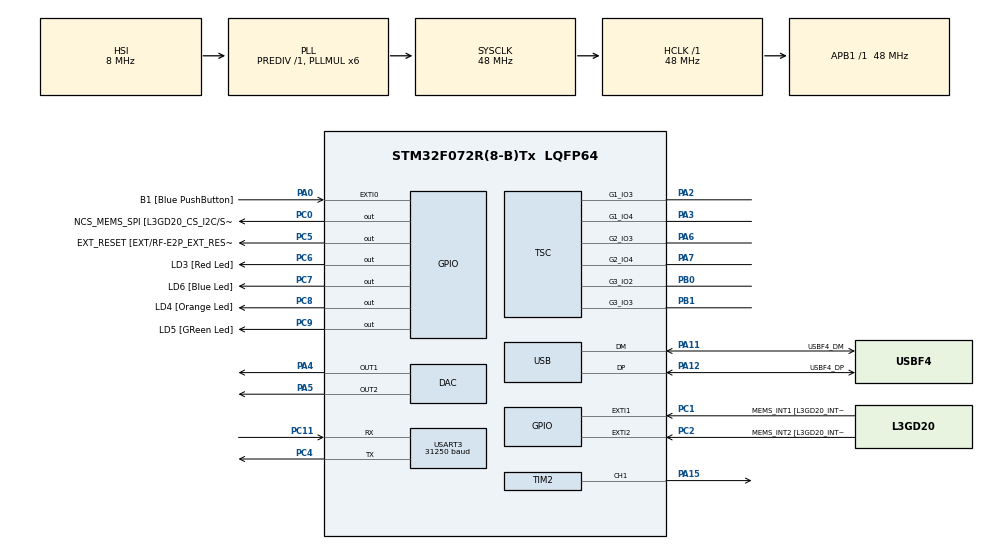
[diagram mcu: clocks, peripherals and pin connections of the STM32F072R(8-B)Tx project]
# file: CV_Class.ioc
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Mcu.Family=STM32F0
Mcu.Name=STM32F072R(8-B)Tx
Mcu.Package=LQFP64
NVIC.TIM2_IRQn=true\:0\:0\:false\:false\:true\:true\:true
PA0.GPIO_Label=B1 [Blue PushButton]
PA0.GPIO_ModeDefaultEXTI=GPIO_MODE_EVT_RISING
PA0.Signal=GPXTI0
PA11.GPIO_Label=USBF4_DM
PA11.Mode=Device
PA11.Signal=USB_DM
PA12.GPIO_Label=USBF4_DP
PA12.Mode=Device
PA12.Signal=USB_DP
PA13.GPIO_Label=SWDIO
PA13.Mode=Serial_Wire
PA13.Signal=SYS_SWDIO
PA14.GPIO_Label=SWCLK
PA14.Mode=Serial_Wire
PA14.Signal=SYS_SWCLK
PA15.Signal=S_TIM2_CH1_ETR
PA2.Mode=G1_IO3-Channel
PA2.Signal=TSC_G1_IO3
PA3.Mode=G1_IO4-Sampling
PA3.Signal=TSC_G1_IO4
PA4.Signal=COMP_DAC1_group
PA5.Signal=COMP_DAC2_group
PA6.Mode=G2_IO3-Channel
PA6.Signal=TSC_G2_IO3
PA7.Mode=G2_IO4-Sampling
PA7.Signal=TSC_G2_IO4
PB0.Mode=G3_IO2-Channel
PB0.Signal=TSC_G3_IO2
PB1.Mode=G3_IO3-Sampling
PB1.Signal=TSC_G3_IO3
PC0.GPIO_Label=NCS_MEMS_SPI [L3GD20_CS_I2C/SPI]
PC0.Signal=GPIO_Output
PC1.GPIO_Label=MEMS_INT1 [L3GD20_INT1]
PC1.GPIO_ModeDefaultEXTI=GPIO_MODE_EVT_RISING
PC1.Signal=GPXTI1
PC11.Mode=Asynchronous
PC11.Signal=USART3_RX
PC2.GPIO_Label=MEMS_INT2 [L3GD20_INT2]
PC2.GPIO_ModeDefaultEXTI=GPIO_MODE_EVT_RISING
PC2.Signal=GPXTI2
PC4.Mode=Asynchronous
PC4.Signal=USART3_TX
PC5.GPIO_Label=EXT_RESET [EXT/RF-E2P_EXT_RESET]
PC5.Signal=GPIO_Output
PC6.GPIO_Label=LD3 [Red Led]
PC6.Signal=GPIO_Output
PC7.GPIO_Label=LD6 [Blue Led]
PC7.Signal=GPIO_Output
PC8.GPIO_Label=LD4 [Orange Led]
PC8.Signal=GPIO_Output
PC9.GPIO_Label=LD5 [GReen Led]
PC9.Signal=GPIO_Output
ProjectManager.HeapSize=0x200
ProjectManager.StackSize=0x400
ProjectManager.TargetToolchain=STM32CubeIDE
RCC.AHBFreq_Value=48000000
RCC.APB1Freq_Value=48000000
RCC.APB1TimFreq_Value=48000000
RCC.HCLKFreq_Value=48000000
RCC.PLLMUL=RCC_PLL_MUL6
RCC.SYSCLKFreq_VALUE=48000000
RCC.SYSCLKSource=RCC_SYSCLKSOURCE_PLLCLK
SH.COMP_DAC1_group.0=DAC_OUT1,DAC_OUT1
SH.COMP_DAC2_group.0=DAC_OUT2,DAC_OUT2
SH.S_TIM2_CH1_ETR.0=TIM2_CH1,Output Compare1 CH1
TIM2.Channel-Output\ Compare1\ CH1=TIM_CHANNEL_1
TIM2.Prescaler=65535
TIM2.TIM_MasterOutputTrigger=TIM_TRGO_OC1REF
USART3.BaudRate=31250
USART3.Mode=MODE_RX
USART3.VirtualMode-Asynchronous=VM_ASYNC
USB.phy_itface=PCD_PHY_EMBEDDED
USB.speed=PCD_SPEED_FULL
VP_TIM2_VS_ClockSourceINT.Mode=Internal
board=STM32F072B-DISCO

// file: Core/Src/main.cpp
/* USER CODE BEGIN Header */
/**
 ******************************************************************************
 * @file           : main.c
 * @brief          : Main program body
 ******************************************************************************
 * @attention
 *
 * <h2><center>&copy; Copyright (c) 2020 STMicroelectronics.
 * All rights reserved.</center></h2>
 *
 * This software component is licensed by ST under BSD 3-Clause license,
 * the "License"; You may not use this file except in compliance with the
 * License. You may obtain a copy of the License at:
 *                        opensource.org/licenses/BSD-3-Clause
 *
 ******************************************************************************
 */
/* USER CODE END Header */

#include "main.h"

/* USER CODE BEGIN Includes */
#include "CV.h"
/* USER CODE END Includes */

DAC_HandleTypeDef hdac;

TIM_HandleTypeDef htim2;

TSC_HandleTypeDef htsc;

UART_HandleTypeDef huart3;

PCD_HandleTypeDef hpcd_USB_FS;

void SystemClock_Config(void);
static void MX_GPIO_Init(void);
static void MX_TSC_Init(void);
static void MX_USB_PCD_Init(void);
static void MX_DAC_Init(void);
static void MX_TIM2_Init(void);
static void MX_USART3_UART_Init(void);

/* USER CODE BEGIN 0 */
CV pitch;

/* USER CODE END 0 */

int main(void) {

	/* MCU Configuration--------------------------------------------------------*/

	/* Reset of all peripherals, Initializes the Flash interface and the Systick. */
	HAL_Init();

	/* Configure the system clock */
	SystemClock_Config();

	/* Initialize all configured peripherals */
	MX_GPIO_Init();
	MX_TSC_Init();
	MX_USB_PCD_Init();
	MX_DAC_Init();
	MX_TIM2_Init();
	MX_USART3_UART_Init();
	/* USER CODE BEGIN 2 */
	HAL_DAC_Start(&hdac, DAC_CHANNEL_1);
	HAL_TIM_Base_Start_IT(&htim2);
	pitch.CV_init(10, 100, output_CV); // initialise the CV interface
	static uint16_t i = 0;
	static uint8_t note = 0;
	/* USER CODE END 2 */

	/* Infinite loop */
	while (1) {

	}
}

void SystemClock_Config(void) {
	RCC_OscInitTypeDef RCC_OscInitStruct = { 0 };
	RCC_ClkInitTypeDef RCC_ClkInitStruct = { 0 };
	RCC_PeriphCLKInitTypeDef PeriphClkInit = { 0 };

	/** Initializes the CPU, AHB and APB busses clocks
	 */
	RCC_OscInitStruct.OscillatorType = RCC_OSCILLATORTYPE_HSI
			| RCC_OSCILLATORTYPE_HSI48;
	RCC_OscInitStruct.HSIState = RCC_HSI_ON;
	RCC_OscInitStruct.HSI48State = RCC_HSI48_ON;
	RCC_OscInitStruct.HSICalibrationValue = RCC_HSICALIBRATION_DEFAULT;
	RCC_OscInitStruct.PLL.PLLState = RCC_PLL_ON;
	RCC_OscInitStruct.PLL.PLLSource = RCC_PLLSOURCE_HSI;
	RCC_OscInitStruct.PLL.PLLMUL = RCC_PLL_MUL6;
	RCC_OscInitStruct.PLL.PREDIV = RCC_PREDIV_DIV1;
	if (HAL_RCC_OscConfig(&RCC_OscInitStruct) != HAL_OK) {
		Error_Handler();
	}
	/** Initializes the CPU, AHB and APB busses clocks
	 */
	RCC_ClkInitStruct.ClockType = RCC_CLOCKTYPE_HCLK | RCC_CLOCKTYPE_SYSCLK
			| RCC_CLOCKTYPE_PCLK1;
	RCC_ClkInitStruct.SYSCLKSource = RCC_SYSCLKSOURCE_PLLCLK;
	RCC_ClkInitStruct.AHBCLKDivider = RCC_SYSCLK_DIV1;
	RCC_ClkInitStruct.APB1CLKDivider = RCC_HCLK_DIV1;

	if (HAL_RCC_ClockConfig(&RCC_ClkInitStruct, FLASH_LATENCY_1) != HAL_OK) {
		Error_Handler();
	}
	PeriphClkInit.PeriphClockSelection = RCC_PERIPHCLK_USB;
	PeriphClkInit.UsbClockSelection = RCC_USBCLKSOURCE_HSI48;

	if (HAL_RCCEx_PeriphCLKConfig(&PeriphClkInit) != HAL_OK) {
		Error_Handler();
	}
}

static void MX_DAC_Init(void) {

	DAC_ChannelConfTypeDef sConfig = { 0 };

	/** DAC Initialization
	 */
	hdac.Instance = DAC;
	if (HAL_DAC_Init(&hdac) != HAL_OK) {
		Error_Handler();
	}
	/** DAC channel OUT1 config
	 */
	sConfig.DAC_Trigger = DAC_TRIGGER_NONE;
	sConfig.DAC_OutputBuffer = DAC_OUTPUTBUFFER_ENABLE;
	if (HAL_DAC_ConfigChannel(&hdac, &sConfig, DAC_CHANNEL_1) != HAL_OK) {
		Error_Handler();
	}
	/** DAC channel OUT2 config
	 */
	if (HAL_DAC_ConfigChannel(&hdac, &sConfig, DAC_CHANNEL_2) != HAL_OK) {
		Error_Handler();
	}

}

static void MX_TIM2_Init(void) {

	TIM_ClockConfigTypeDef sClockSourceConfig = { 0 };
	TIM_MasterConfigTypeDef sMasterConfig = { 0 };
	TIM_OC_InitTypeDef sConfigOC = { 0 };

	htim2.Instance = TIM2;
	htim2.Init.Prescaler = 6553;
	htim2.Init.CounterMode = TIM_COUNTERMODE_DOWN;
	htim2.Init.Period = 3;
	htim2.Init.ClockDivision = TIM_CLOCKDIVISION_DIV1;
	htim2.Init.AutoReloadPreload = TIM_AUTORELOAD_PRELOAD_DISABLE;
	if (HAL_TIM_Base_Init(&htim2) != HAL_OK) {
		Error_Handler();
	}
	sClockSourceConfig.ClockSource = TIM_CLOCKSOURCE_INTERNAL;
	if (HAL_TIM_ConfigClockSource(&htim2, &sClockSourceConfig) != HAL_OK) {
		Error_Handler();
	}
	if (HAL_TIM_OC_Init(&htim2) != HAL_OK) {
		Error_Handler();
	}
	sMasterConfig.MasterOutputTrigger = TIM_TRGO_OC1REF;
	sMasterConfig.MasterSlaveMode = TIM_MASTERSLAVEMODE_DISABLE;
	if (HAL_TIMEx_MasterConfigSynchronization(&htim2, &sMasterConfig)
			!= HAL_OK) {
		Error_Handler();
	}
	sConfigOC.OCMode = TIM_OCMODE_TIMING;
	sConfigOC.Pulse = 0;
	sConfigOC.OCPolarity = TIM_OCPOLARITY_HIGH;
	sConfigOC.OCFastMode = TIM_OCFAST_DISABLE;
	if (HAL_TIM_OC_ConfigChannel(&htim2, &sConfigOC, TIM_CHANNEL_1) != HAL_OK) {
		Error_Handler();
	}
	HAL_TIM_MspPostInit(&htim2);

}

static void MX_TSC_Init(void) {

	/** Configure the TSC peripheral
	 */
	htsc.Instance = TSC;
	htsc.Init.CTPulseHighLength = TSC_CTPH_2CYCLES;
	htsc.Init.CTPulseLowLength = TSC_CTPL_2CYCLES;
	htsc.Init.SpreadSpectrum = DISABLE;
	htsc.Init.SpreadSpectrumDeviation = 1;
	htsc.Init.SpreadSpectrumPrescaler = TSC_SS_PRESC_DIV1;
	htsc.Init.PulseGeneratorPrescaler = TSC_PG_PRESC_DIV4;
	htsc.Init.MaxCountValue = TSC_MCV_8191;
	htsc.Init.IODefaultMode = TSC_IODEF_OUT_PP_LOW;
	htsc.Init.SynchroPinPolarity = TSC_SYNC_POLARITY_FALLING;
	htsc.Init.AcquisitionMode = TSC_ACQ_MODE_NORMAL;
	htsc.Init.MaxCountInterrupt = DISABLE;
	htsc.Init.ChannelIOs = TSC_GROUP1_IO3 | TSC_GROUP2_IO3 | TSC_GROUP3_IO2;
	htsc.Init.ShieldIOs = 0;
	htsc.Init.SamplingIOs = TSC_GROUP1_IO4 | TSC_GROUP2_IO4 | TSC_GROUP3_IO3;
	if (HAL_TSC_Init(&htsc) != HAL_OK) {
		Error_Handler();
	}

}

static void MX_USART3_UART_Init(void) {

	huart3.Instance = USART3;
	huart3.Init.BaudRate = 31250;
	huart3.Init.WordLength = UART_WORDLENGTH_8B;
	huart3.Init.StopBits = UART_STOPBITS_1;
	huart3.Init.Parity = UART_PARITY_NONE;
	huart3.Init.Mode = UART_MODE_RX;
	huart3.Init.HwFlowCtl = UART_HWCONTROL_NONE;
	huart3.Init.OverSampling = UART_OVERSAMPLING_16;
	huart3.Init.OneBitSampling = UART_ONE_BIT_SAMPLE_DISABLE;
	huart3.AdvancedInit.AdvFeatureInit = UART_ADVFEATURE_NO_INIT;
	if (HAL_UART_Init(&huart3) != HAL_OK) {
		Error_Handler();
	}

}

static void MX_USB_PCD_Init(void) {

	hpcd_USB_FS.Instance = USB;
	hpcd_USB_FS.Init.dev_endpoints = 8;
	hpcd_USB_FS.Init.speed = PCD_SPEED_FULL;
	hpcd_USB_FS.Init.phy_itface = PCD_PHY_EMBEDDED;
	hpcd_USB_FS.Init.low_power_enable = DISABLE;
	hpcd_USB_FS.Init.lpm_enable = DISABLE;
	hpcd_USB_FS.Init.battery_charging_enable = DISABLE;
	if (HAL_PCD_Init(&hpcd_USB_FS) != HAL_OK) {
		Error_Handler();
	}

}

static void MX_GPIO_Init(void) {
	GPIO_InitTypeDef GPIO_InitStruct = { 0 };

	/* GPIO Ports Clock Enable */
	__HAL_RCC_GPIOC_CLK_ENABLE();
	__HAL_RCC_GPIOA_CLK_ENABLE();
	__HAL_RCC_GPIOB_CLK_ENABLE();

	/*Configure GPIO pin Output Level */
	HAL_GPIO_WritePin(GPIOC,
	NCS_MEMS_SPI_Pin | EXT_RESET_Pin | LD3_Pin | LD6_Pin | LD4_Pin | LD5_Pin,
			GPIO_PIN_RESET);

	/*Configure GPIO pins : NCS_MEMS_SPI_Pin EXT_RESET_Pin LD3_Pin LD6_Pin
	 LD4_Pin LD5_Pin */
	GPIO_InitStruct.Pin = NCS_MEMS_SPI_Pin | EXT_RESET_Pin | LD3_Pin | LD6_Pin
			| LD4_Pin | LD5_Pin;
	GPIO_InitStruct.Mode = GPIO_MODE_OUTPUT_PP;
	GPIO_InitStruct.Pull = GPIO_NOPULL;
	GPIO_InitStruct.Speed = GPIO_SPEED_FREQ_LOW;
	HAL_GPIO_Init(GPIOC, &GPIO_InitStruct);

	/*Configure GPIO pins : MEMS_INT1_Pin MEMS_INT2_Pin */
	GPIO_InitStruct.Pin = MEMS_INT1_Pin | MEMS_INT2_Pin;
	GPIO_InitStruct.Mode = GPIO_MODE_EVT_RISING;
	GPIO_InitStruct.Pull = GPIO_NOPULL;
	HAL_GPIO_Init(GPIOC, &GPIO_InitStruct);

	/*Configure GPIO pin : B1_Pin */
	GPIO_InitStruct.Pin = B1_Pin;
	GPIO_InitStruct.Mode = GPIO_MODE_EVT_RISING;
	GPIO_InitStruct.Pull = GPIO_NOPULL;
	HAL_GPIO_Init(B1_GPIO_Port, &GPIO_InitStruct);

}

/* USER CODE BEGIN 4 */
void set_note(uint8_t note) { //enable the .c file to call the class function
	pitch.set_target_note(note);
}
void output_CV(uint16_t value) { //DAC output handler
	if (value != pitch.get_last_pitch()) {//check if the incoming value is different than the last
		value=value>>4;
		HAL_DAC_SetValue(&hdac, DAC_CHANNEL_1, DAC_ALIGN_12B_R, (uint32_t) value);
	}
}
void run_update() {
	pitch.CV_update();
}
/* USER CODE END 4 */

void Error_Handler(void) {
}

/************************ (C) COPYRIGHT STMicroelectronics *****END OF FILE****/
